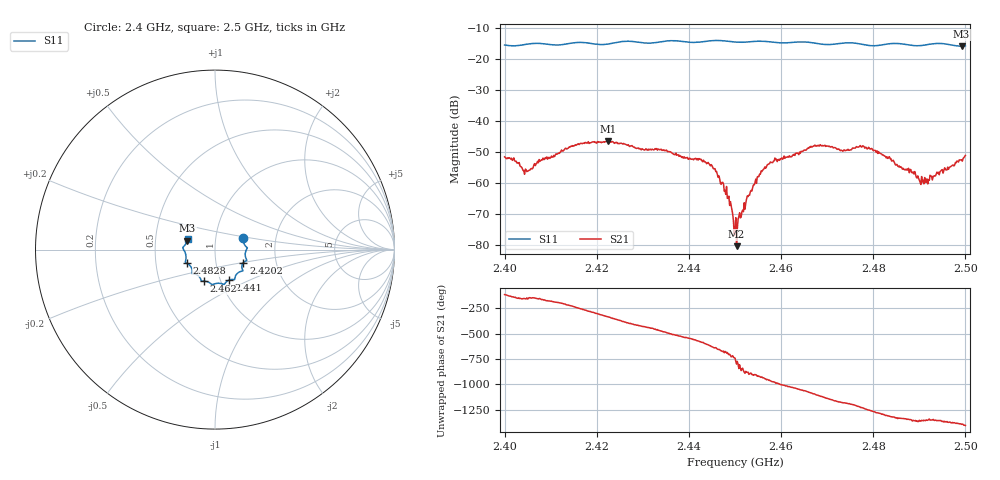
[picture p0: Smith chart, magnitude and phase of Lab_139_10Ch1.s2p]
# Hz S RI R 50
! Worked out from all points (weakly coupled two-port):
!   601 points, 2.4 GHz to 2.5 GHz, reference 50 ohm
!   highest |S21| = -46.61 dB at 2.4225 GHz (marker M1); lowest = -80.5 dB at 2.4503 GHz (marker M2)
!   lowest |S11| = -15.8 dB at 2.4992 GHz (marker M3), VSWR 1.39, Z = 36.4 + j3.71 ohm
!   |S11| at or under -10 dB: start of sweep to end of sweep
!   S12 and S22 are empty: the file has one direction only
!   S11 on the Smith chart (normalised r, x): 2.4 GHz: 1.36, +0.17; 2.4202 GHz: 1.36, -0.20; 2.441 GHz: 1.10, -0.39; 2.462 GHz: 0.84, -0.30; 2.4828 GHz: 0.72, -0.11; 2.5 GHz: 0.73, +0.09
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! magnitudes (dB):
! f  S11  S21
! 2.4 GHz  -15.4  -51.6
! 2.4048 GHz  -15.1  -56.4
! 2.4167 GHz  -14.6  -47.2
! 2.4202 GHz  -15.2  -46.7
! 2.4225 GHz  -15.1  -46.6
! 2.4333 GHz  -14.5  -49.1
! 2.441 GHz  -14.6  -52.6
! 2.4445 GHz  -14.1  -54.1
! 2.446 GHz  -13.9  -56.4
! 2.4487 GHz  -14.2  -64.3
! 2.45 GHz  -14.4  -76.0
! 2.4503 GHz  -14.5  -80.5
! 2.453 GHz  -14.4  -64.0
! 2.456 GHz  -14.2  -56.0
! 2.462 GHz  -14.6  -51.6
! 2.4667 GHz  -14.6  -48.4
! 2.4775 GHz  -15.2  -48.5
! 2.4828 GHz  -15.1  -52.0
! 2.4833 GHz  -15.0  -51.8
! 2.4905 GHz  -15.6  -58.0
! 2.4992 GHz  -15.8  -52.6
! 2.5 GHz  -15.7  -51.2
